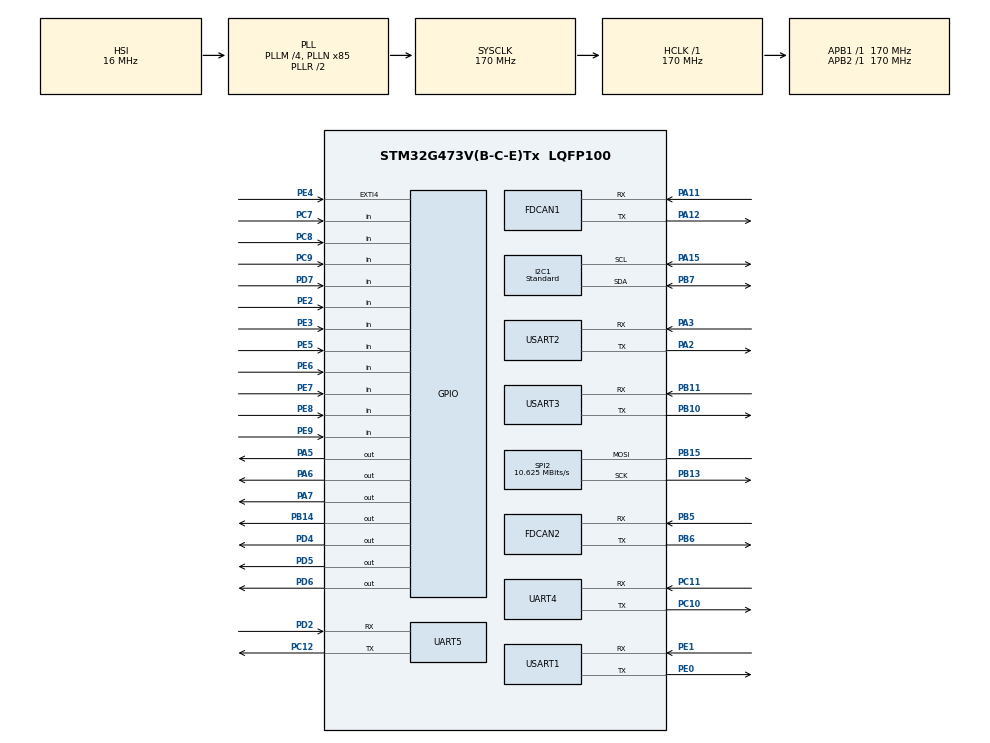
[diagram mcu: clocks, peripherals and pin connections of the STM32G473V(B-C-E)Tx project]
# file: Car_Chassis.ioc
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Dma.Request0=USART3_RX
Dma.Request1=USART3_TX
Dma.Request2=UART4_RX
Dma.Request3=UART4_TX
Dma.Request4=USART2_RX
Dma.Request5=USART2_TX
Dma.UART4_RX.2.Direction=DMA_PERIPH_TO_MEMORY
Dma.UART4_RX.2.EventEnable=DISABLE
Dma.UART4_RX.2.Instance=DMA1_Channel3
Dma.UART4_RX.2.MemDataAlignment=DMA_MDATAALIGN_BYTE
Dma.UART4_RX.2.MemInc=DMA_MINC_ENABLE
Dma.UART4_RX.2.Mode=DMA_NORMAL
Dma.UART4_RX.2.PeriphDataAlignment=DMA_PDATAALIGN_BYTE
Dma.UART4_RX.2.PeriphInc=DMA_PINC_DISABLE
Dma.UART4_RX.2.Polarity=HAL_DMAMUX_REQ_GEN_RISING
Dma.UART4_RX.2.Priority=DMA_PRIORITY_LOW
Dma.UART4_RX.2.RequestNumber=1
Dma.UART4_RX.2.SignalID=NONE
Dma.UART4_RX.2.SyncEnable=DISABLE
Dma.UART4_RX.2.SyncPolarity=HAL_DMAMUX_SYNC_NO_EVENT
Dma.UART4_RX.2.SyncRequestNumber=1
Dma.UART4_RX.2.SyncSignalID=NONE
Dma.UART4_TX.3.Direction=DMA_MEMORY_TO_PERIPH
Dma.UART4_TX.3.EventEnable=DISABLE
Dma.UART4_TX.3.Instance=DMA1_Channel4
Dma.UART4_TX.3.MemDataAlignment=DMA_MDATAALIGN_BYTE
Dma.UART4_TX.3.MemInc=DMA_MINC_ENABLE
Dma.UART4_TX.3.Mode=DMA_NORMAL
Dma.UART4_TX.3.PeriphDataAlignment=DMA_PDATAALIGN_BYTE
Dma.UART4_TX.3.PeriphInc=DMA_PINC_DISABLE
Dma.UART4_TX.3.Polarity=HAL_DMAMUX_REQ_GEN_RISING
Dma.UART4_TX.3.Priority=DMA_PRIORITY_LOW
Dma.UART4_TX.3.RequestNumber=1
Dma.UART4_TX.3.SignalID=NONE
Dma.UART4_TX.3.SyncEnable=DISABLE
Dma.UART4_TX.3.SyncPolarity=HAL_DMAMUX_SYNC_NO_EVENT
Dma.UART4_TX.3.SyncRequestNumber=1
Dma.UART4_TX.3.SyncSignalID=NONE
Dma.USART2_RX.4.Direction=DMA_PERIPH_TO_MEMORY
Dma.USART2_RX.4.EventEnable=DISABLE
Dma.USART2_RX.4.Instance=DMA1_Channel5
Dma.USART2_RX.4.MemDataAlignment=DMA_MDATAALIGN_BYTE
Dma.USART2_RX.4.MemInc=DMA_MINC_ENABLE
Dma.USART2_RX.4.Mode=DMA_NORMAL
Dma.USART2_RX.4.PeriphDataAlignment=DMA_PDATAALIGN_BYTE
Dma.USART2_RX.4.PeriphInc=DMA_PINC_DISABLE
Dma.USART2_RX.4.Polarity=HAL_DMAMUX_REQ_GEN_RISING
Dma.USART2_RX.4.Priority=DMA_PRIORITY_LOW
Dma.USART2_RX.4.RequestNumber=1
Dma.USART2_RX.4.SignalID=NONE
Dma.USART2_RX.4.SyncEnable=DISABLE
Dma.USART2_RX.4.SyncPolarity=HAL_DMAMUX_SYNC_NO_EVENT
Dma.USART2_RX.4.SyncRequestNumber=1
Dma.USART2_RX.4.SyncSignalID=NONE
Dma.USART2_TX.5.Direction=DMA_MEMORY_TO_PERIPH
Dma.USART2_TX.5.EventEnable=DISABLE
Dma.USART2_TX.5.Instance=DMA1_Channel6
Dma.USART2_TX.5.MemDataAlignment=DMA_MDATAALIGN_BYTE
Dma.USART2_TX.5.MemInc=DMA_MINC_ENABLE
Dma.USART2_TX.5.Mode=DMA_NORMAL
Dma.USART2_TX.5.PeriphDataAlignment=DMA_PDATAALIGN_BYTE
Dma.USART2_TX.5.PeriphInc=DMA_PINC_DISABLE
Dma.USART2_TX.5.Polarity=HAL_DMAMUX_REQ_GEN_RISING
Dma.USART2_TX.5.Priority=DMA_PRIORITY_LOW
Dma.USART2_TX.5.RequestNumber=1
Dma.USART2_TX.5.SignalID=NONE
Dma.USART2_TX.5.SyncEnable=DISABLE
Dma.USART2_TX.5.SyncPolarity=HAL_DMAMUX_SYNC_NO_EVENT
Dma.USART2_TX.5.SyncRequestNumber=1
Dma.USART2_TX.5.SyncSignalID=NONE
Dma.USART3_RX.0.Direction=DMA_PERIPH_TO_MEMORY
Dma.USART3_RX.0.EventEnable=DISABLE
Dma.USART3_RX.0.Instance=DMA1_Channel1
Dma.USART3_RX.0.MemDataAlignment=DMA_MDATAALIGN_BYTE
Dma.USART3_RX.0.MemInc=DMA_MINC_ENABLE
Dma.USART3_RX.0.Mode=DMA_NORMAL
Dma.USART3_RX.0.PeriphDataAlignment=DMA_PDATAALIGN_BYTE
Dma.USART3_RX.0.PeriphInc=DMA_PINC_DISABLE
Dma.USART3_RX.0.Polarity=HAL_DMAMUX_REQ_GEN_RISING
Dma.USART3_RX.0.Priority=DMA_PRIORITY_LOW
Dma.USART3_RX.0.RequestNumber=1
Dma.USART3_RX.0.SignalID=NONE
Dma.USART3_RX.0.SyncEnable=DISABLE
Dma.USART3_RX.0.SyncPolarity=HAL_DMAMUX_SYNC_NO_EVENT
Dma.USART3_RX.0.SyncRequestNumber=1
Dma.USART3_RX.0.SyncSignalID=NONE
Dma.USART3_TX.1.Direction=DMA_MEMORY_TO_PERIPH
Dma.USART3_TX.1.EventEnable=DISABLE
Dma.USART3_TX.1.Instance=DMA1_Channel2
Dma.USART3_TX.1.MemDataAlignment=DMA_MDATAALIGN_BYTE
Dma.USART3_TX.1.MemInc=DMA_MINC_ENABLE
Dma.USART3_TX.1.Mode=DMA_NORMAL
Dma.USART3_TX.1.PeriphDataAlignment=DMA_PDATAALIGN_BYTE
Dma.USART3_TX.1.PeriphInc=DMA_PINC_DISABLE
Dma.USART3_TX.1.Polarity=HAL_DMAMUX_REQ_GEN_RISING
Dma.USART3_TX.1.Priority=DMA_PRIORITY_LOW
Dma.USART3_TX.1.RequestNumber=1
Dma.USART3_TX.1.SignalID=NONE
Dma.USART3_TX.1.SyncEnable=DISABLE
Dma.USART3_TX.1.SyncPolarity=HAL_DMAMUX_SYNC_NO_EVENT
Dma.USART3_TX.1.SyncRequestNumber=1
Dma.USART3_TX.1.SyncSignalID=NONE
FDCAN1.AutoRetransmission=ENABLE
FDCAN1.CalculateBaudRateNominal=3541666
FDCAN1.CalculateTimeBitNominal=282
FDCAN1.CalculateTimeQuantumNominal=94.11764705882354
FDCAN1.StdFiltersNbr=1
FDCAN2.AutoRetransmission=ENABLE
FDCAN2.CalculateBaudRateNominal=3541666
FDCAN2.CalculateTimeBitNominal=282
FDCAN2.CalculateTimeQuantumNominal=94.11764705882354
I2C1.I2C_Speed_Mode=I2C_Standard
I2C1.Timing=0x40B285C2
Mcu.Family=STM32G4
Mcu.Name=STM32G473V(B-C-E)Tx
Mcu.Package=LQFP100
NVIC.DMA1_Channel1_IRQn=true\:0\:0\:false\:false\:true\:false\:true\:true
NVIC.DMA1_Channel2_IRQn=true\:0\:0\:false\:false\:true\:false\:true\:true
NVIC.DMA1_Channel3_IRQn=true\:0\:0\:false\:false\:true\:false\:true\:true
NVIC.DMA1_Channel4_IRQn=true\:0\:0\:false\:false\:true\:false\:true\:true
NVIC.DMA1_Channel5_IRQn=true\:0\:0\:false\:false\:true\:false\:true\:true
NVIC.DMA1_Channel6_IRQn=true\:0\:0\:false\:false\:true\:false\:true\:true
NVIC.FDCAN1_IT0_IRQn=true\:0\:0\:false\:false\:true\:true\:true\:true
NVIC.FDCAN1_IT1_IRQn=true\:0\:0\:false\:false\:true\:true\:true\:true
NVIC.FDCAN2_IT0_IRQn=true\:0\:0\:false\:false\:true\:true\:true\:true
NVIC.FDCAN2_IT1_IRQn=true\:0\:0\:false\:false\:true\:true\:true\:true
NVIC.PriorityGroup=NVIC_PRIORITYGROUP_4
NVIC.UART4_IRQn=true\:0\:0\:false\:false\:true\:true\:true\:true
NVIC.UART5_IRQn=true\:0\:0\:false\:false\:true\:true\:true\:true
NVIC.USART1_IRQn=true\:0\:0\:false\:false\:true\:true\:true\:true
NVIC.USART2_IRQn=true\:0\:0\:false\:false\:true\:true\:true\:true
NVIC.USART3_IRQn=true\:0\:0\:false\:false\:true\:true\:true\:true
PA11.Mode=FDCAN_Activate
PA11.Signal=FDCAN1_RX
PA12.Mode=FDCAN_Activate
PA12.Signal=FDCAN1_TX
PA15.Mode=I2C
PA15.Signal=I2C1_SCL
PA2.Mode=Asynchronous
PA2.Signal=USART2_TX
PA3.Mode=Asynchronous
PA3.Signal=USART2_RX
PA5.Signal=GPIO_Output
PA6.Signal=GPIO_Output
PA7.Signal=GPIO_Output
PB10.Mode=Asynchronous
PB10.Signal=USART3_TX
PB11.Mode=Asynchronous
PB11.Signal=USART3_RX
PB13.Mode=Simplex_Bidirectional_Master
PB13.Signal=SPI2_SCK
PB14.Signal=GPIO_Output
PB15.Mode=Simplex_Bidirectional_Master
PB15.Signal=SPI2_MOSI
PB5.Mode=FDCAN_Activate
PB5.Signal=FDCAN2_RX
PB6.Mode=FDCAN_Activate
PB6.Signal=FDCAN2_TX
PB7.Mode=I2C
PB7.Signal=I2C1_SDA
PC10.Mode=Asynchronous
PC10.Signal=UART4_TX
PC11.Mode=Asynchronous
PC11.Signal=UART4_RX
PC12.Mode=Asynchronous
PC12.Signal=UART5_TX
PC7.Signal=GPIO_Input
PC8.Signal=GPIO_Input
PC9.Signal=GPIO_Input
PD2.Mode=Asynchronous
PD2.Signal=UART5_RX
PD4.Signal=GPIO_Output
PD5.Signal=GPIO_Output
PD6.Signal=GPIO_Output
PD7.Signal=GPIO_Input
PE0.Mode=Asynchronous
PE0.Signal=USART1_TX
PE1.Mode=Asynchronous
PE1.Signal=USART1_RX
PE2.Signal=GPIO_Input
PE3.Signal=GPIO_Input
PE4.Signal=GPXTI4
PE5.Signal=GPIO_Input
PE6.Signal=GPIO_Input
PE7.Signal=GPIO_Input
PE8.Signal=GPIO_Input
PE9.Signal=GPIO_Input
ProjectManager.HeapSize=0x200
ProjectManager.StackSize=0x400
ProjectManager.TargetToolchain=MDK-ARM V5.32
RCC.ADC12Freq_Value=170000000
RCC.ADC345Freq_Value=170000000
RCC.AHBFreq_Value=170000000
RCC.APB1Freq_Value=170000000
RCC.APB1TimFreq_Value=170000000
RCC.APB2Freq_Value=170000000
RCC.APB2TimFreq_Value=170000000
RCC.CortexFreq_Value=170000000
RCC.EXTERNAL_CLOCK_VALUE=12288000
RCC.HCLKFreq_Value=170000000
RCC.HSE_VALUE=8000000
RCC.HSI48_VALUE=48000000
RCC.HSI_VALUE=16000000
RCC.LSE_VALUE=32768
RCC.PLLM=RCC_PLLM_DIV4
RCC.PLLN=85
RCC.SYSCLKFreq_VALUE=170000000
RCC.SYSCLKSource=RCC_SYSCLKSOURCE_PLLCLK
RCC.USBFreq_Value=170000000
RCC.VCOOutputFreq_Value=340000000
SPI2.BaudRatePrescaler=SPI_BAUDRATEPRESCALER_16
SPI2.CLKPhase=SPI_PHASE_2EDGE
SPI2.CLKPolarity=SPI_POLARITY_HIGH
SPI2.CalculateBaudRate=10.625 MBits/s
SPI2.DataSize=SPI_DATASIZE_8BIT
SPI2.Direction=SPI_DIRECTION_1LINE
SPI2.Mode=SPI_MODE_MASTER
SPI2.VirtualType=VM_MASTER
USART1.VirtualMode-Asynchronous=VM_ASYNC
USART2.VirtualMode-Asynchronous=VM_ASYNC
USART3.VirtualMode-Asynchronous=VM_ASYNC
VP_SYS_VS_DBSignals.Mode=DisableDeadBatterySignals
board=custom

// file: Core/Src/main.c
/* USER CODE BEGIN Header */
/**
  ******************************************************************************
  * @file           : main.c
  * @brief          : Main program body
  ******************************************************************************
  * @attention
  *
  * Copyright (c) 2026 STMicroelectronics.
  * All rights reserved.
  *
  * This software is licensed under terms that can be found in the LICENSE file
  * in the root directory of this software component.
  * If no LICENSE file comes with this software, it is provided AS-IS.
  *
  ******************************************************************************
  */
/* USER CODE END Header */
#include "main.h"
#include "dma.h"
#include "fdcan.h"
#include "i2c.h"
#include "spi.h"
#include "usart.h"
#include "gpio.h"

/* USER CODE BEGIN Includes */
#include "lcd.h"
#include "app_chassis.h"
#include "app_imu.h"
#include "bsp_dm_uart.h"

#include <stdio.h>
#include <string.h>
/* USER CODE END Includes */

void SystemClock_Config(void);

/* USER CODE BEGIN 0 */
/* 作用：把达妙调试串口（USART3/UART4）收到的最近一行打到屏幕 224 行，
 * 用来确认「线接对没有」。哪一路更新更近就显示哪一路 */
static void dm_uart_show(void)
{
    static char     shown[48];
    static uint32_t tick;
    char    line[48];
    char    text[48];
    uint8_t port;
    uint32_t t3;
    uint32_t t4;

    if ((HAL_GetTick() - tick) < 300U) {
        return;
    }
    tick = HAL_GetTick();

    t3 = BSP_DM_UART_LineTick(BSP_DM_UART_PORT_3);
    t4 = BSP_DM_UART_LineTick(BSP_DM_UART_PORT_4);
    if ((t3 == 0U) && (t4 == 0U)) {
        return;
    }
    port = (t4 > t3) ? 4U : 3U;

    if (BSP_DM_UART_GetLine((port == 3U) ? BSP_DM_UART_PORT_3 : BSP_DM_UART_PORT_4,
                            line, sizeof(line)) == 0U) {
        return;
    }

    (void)snprintf(text, sizeof(text), "U%u %s", (unsigned)port, line);
    if (strcmp(text, shown) == 0) {
        return;
    }
    (void)strncpy(shown, text, sizeof(shown) - 1U);
    shown[sizeof(shown) - 1U] = '\0';
    LCD_ShowStringFast(0U, 224U, text, WHITE, BLACK);
}
/* USER CODE END 0 */

int main(void)
{

  /* MCU Configuration--------------------------------------------------------*/

  /* Reset of all peripherals, Initializes the Flash interface and the Systick. */
  HAL_Init();

  /* Configure the system clock */
  SystemClock_Config();

  /* Initialize all configured peripherals */
  MX_GPIO_Init();
  MX_DMA_Init();
  MX_USART1_UART_Init();
  MX_SPI2_Init();
  MX_FDCAN1_Init();
  MX_FDCAN2_Init();
  MX_UART4_Init();
  MX_UART5_Init();
  MX_USART2_UART_Init();
  MX_USART3_UART_Init();
  MX_I2C1_Init();
  /* USER CODE BEGIN 2 */
  /* 屏幕初始化（ST7789 2.00寸 320x240），并显示一行字 */
  LCD_Init();
  LCD_ShowString(128, 112, "我是G473-1", GREEN, BLACK);

  /* 底盘初始化：FDCAN1 + 2×DM-S2325（MIT 定速） */
  App_Chassis_Init();
  /* 开环试转：输出轴 10 rpm 正转，改 0.0f 即停；方向不对改 app_config.h 的 DIR */
  App_Chassis_BenchSpin(10.0f);

  /* 姿态传感器（YbImu）初始化：I2C1（PB7=SDA/PA15=SCL）轮询，姿态显示在板载 LCD */
  App_IMU_Init();

  /* 达妙 DM3520-1EC 调试串口：USART3(PB10/PB11) + UART4(PC10/PC11)，921600 8N1 */
  BSP_DM_UART_Init();
  /* USER CODE END 2 */

  /* Infinite loop */
  while (1)
  {

    /* USER CODE BEGIN 3 */
    App_Chassis_Task();
    App_IMU_Task();
    dm_uart_show();
  }
  /* USER CODE END 3 */
}

void SystemClock_Config(void)
{
  RCC_OscInitTypeDef RCC_OscInitStruct = {0};
  RCC_ClkInitTypeDef RCC_ClkInitStruct = {0};

  /** Configure the main internal regulator output voltage
  */
  HAL_PWREx_ControlVoltageScaling(PWR_REGULATOR_VOLTAGE_SCALE1_BOOST);

  /** Initializes the RCC Oscillators according to the specified parameters
  * in the RCC_OscInitTypeDef structure.
  */
  RCC_OscInitStruct.OscillatorType = RCC_OSCILLATORTYPE_HSI;
  RCC_OscInitStruct.HSIState = RCC_HSI_ON;
  RCC_OscInitStruct.HSICalibrationValue = RCC_HSICALIBRATION_DEFAULT;
  RCC_OscInitStruct.PLL.PLLState = RCC_PLL_ON;
  RCC_OscInitStruct.PLL.PLLSource = RCC_PLLSOURCE_HSI;
  RCC_OscInitStruct.PLL.PLLM = RCC_PLLM_DIV4;
  RCC_OscInitStruct.PLL.PLLN = 85;
  RCC_OscInitStruct.PLL.PLLP = RCC_PLLP_DIV2;
  RCC_OscInitStruct.PLL.PLLQ = RCC_PLLQ_DIV2;
  RCC_OscInitStruct.PLL.PLLR = RCC_PLLR_DIV2;
  if (HAL_RCC_OscConfig(&RCC_OscInitStruct) != HAL_OK)
  {
    Error_Handler();
  }

  /** Initializes the CPU, AHB and APB buses clocks
  */
  RCC_ClkInitStruct.ClockType = RCC_CLOCKTYPE_HCLK|RCC_CLOCKTYPE_SYSCLK
                              |RCC_CLOCKTYPE_PCLK1|RCC_CLOCKTYPE_PCLK2;
  RCC_ClkInitStruct.SYSCLKSource = RCC_SYSCLKSOURCE_PLLCLK;
  RCC_ClkInitStruct.AHBCLKDivider = RCC_SYSCLK_DIV1;
  RCC_ClkInitStruct.APB1CLKDivider = RCC_HCLK_DIV1;
  RCC_ClkInitStruct.APB2CLKDivider = RCC_HCLK_DIV1;

  if (HAL_RCC_ClockConfig(&RCC_ClkInitStruct, FLASH_LATENCY_4) != HAL_OK)
  {
    Error_Handler();
  }
}

void Error_Handler(void)
{
  __disable_irq();
  while (1)
  {
  }
}
